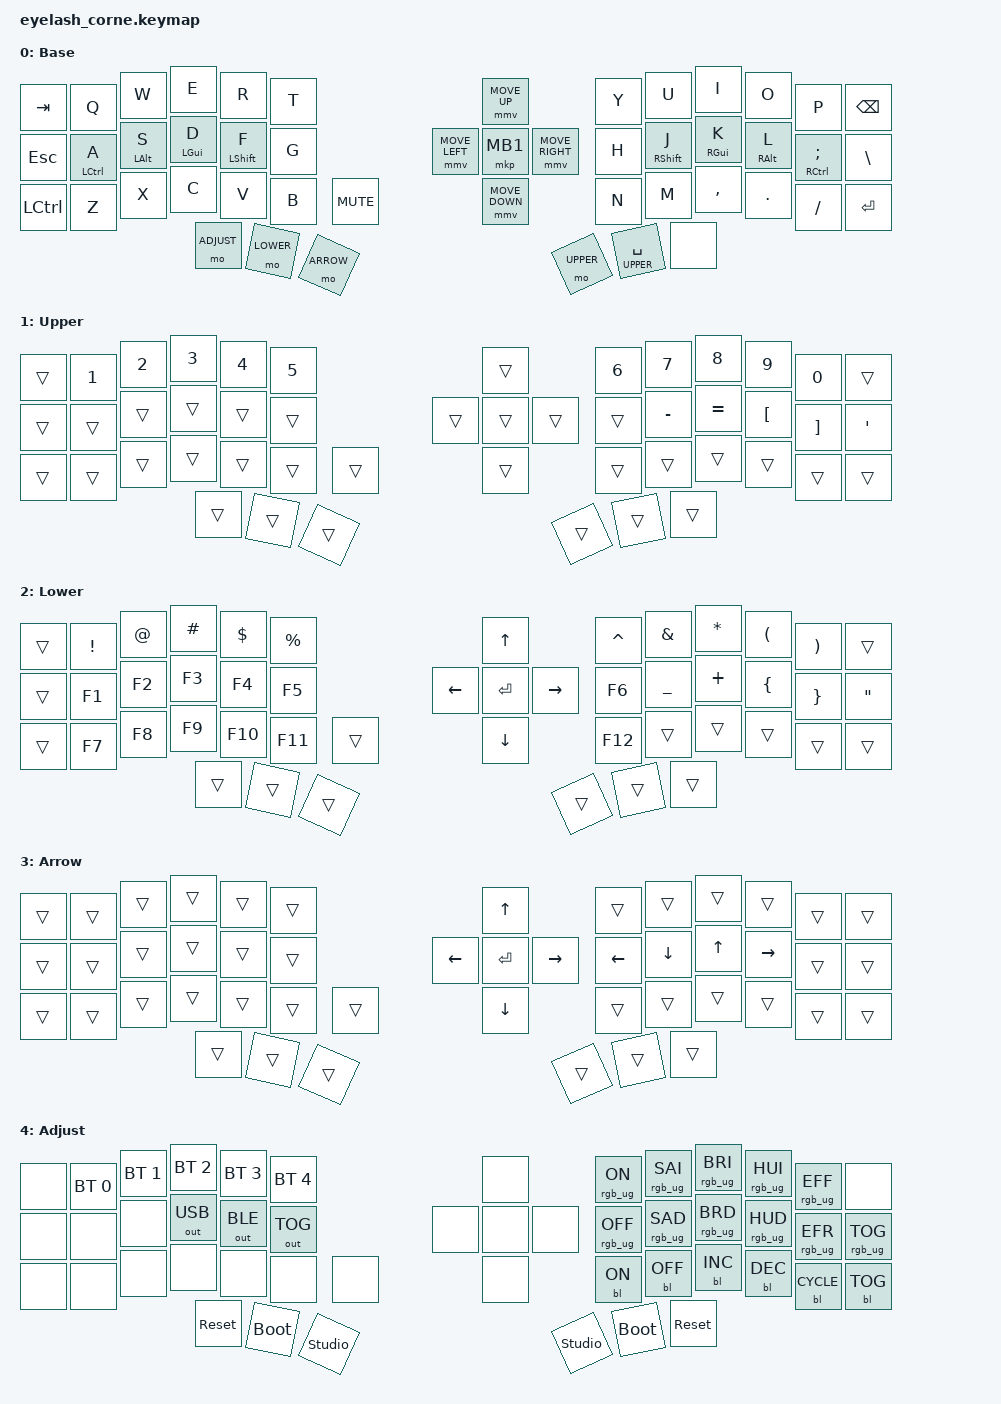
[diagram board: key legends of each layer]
#include <input/processors.dtsi>
#include <zephyr/dt-bindings/input/input-event-codes.h>
#include <behaviors.dtsi>
#include <behaviors/runtime-sensor-rotate.dtsi>
#include <dt-bindings/zmk/bt.h>
#include <dt-bindings/zmk/ext_power.h>
#include <dt-bindings/zmk/keys.h>
#include <dt-bindings/zmk/outputs.h>
#include <dt-bindings/zmk/rgb.h>
#include <dt-bindings/zmk/backlight.h>
#include <dt-bindings/zmk/pointing.h>
#include <dt-bindings/zmk/mouse.h>

#define BASE   0
#define UPPER  1
#define LOWER  2
#define ADJUST 3
#define ARROW  4

&soft_off { hold-time-ms = <2000>; };

//  key positions (for hold-trigger-key-positions):
//  (0) TAB    (1) Q  (2) W  (3) E  (4) R  (5) T                    (6) up               (7) Y  (8) U  (9) I  (10) O  (11) P  (12) BSPC
//  (13) ESC   (14) A (15) S (16) D (17) F (18) G        (19) left  (20) mid  (21) right  (22) H (23) J (24) K (25) L  (26) SEMI (27) BSLH/APOS
//  (28) CTRL  (29) Z (30) X (31) C (32) V (33) B         (34) mute (35) down             (36) N (37) M (38) COMMA (39) DOT (40) SLASH (41) ENTER
//                                  (42) NONE (43) LOWER (44) NONE                        (45) UPPER (46) SPACE (47) NONE

#define LEFT_SIDE_KEYS 0 1 2 3 4 5 13 14 15 16 17 18 28 29 30 31 32 33 34
#define RIGHT_SIDE_KEYS 7 8 9 10 11 12 22 23 24 25 26 27 36 37 38 39 40 41
#define LEFT_MOD_KEYS 14 15 16 17
#define RIGHT_MOD_KEYS 23 24 25 26

/ {
    behaviors {
        hml: hrmod_left {
            compatible = "zmk,behavior-hold-tap";
            #binding-cells = <2>;
            tapping-term-ms = <200>;
            flavor = "balanced";
            quick-tap-ms = <200>;
            require-prior-idle-ms = <100>;
            bindings = <&kp>, <&kp>;
            hold-trigger-key-positions = <RIGHT_SIDE_KEYS LEFT_MOD_KEYS>;
        };

        hmr: hrmod_right {
            compatible = "zmk,behavior-hold-tap";
            #binding-cells = <2>;
            tapping-term-ms = <200>;
            flavor = "balanced";
            quick-tap-ms = <200>;
            require-prior-idle-ms = <100>;
            bindings = <&kp>, <&kp>;
            hold-trigger-key-positions = <LEFT_SIDE_KEYS RIGHT_MOD_KEYS>;
        };

        rsr_vol: rsr_vol {
            compatible = "zmk,behavior-runtime-sensor-rotate";
            #sensor-binding-cells = <0>;
            tap-ms = <5>;
            cw-binding = <&kp C_VOL_UP>;
            ccw-binding = <&kp C_VOL_DN>;
        };

        rsr_trans: rsr_trans {
            compatible = "zmk,behavior-runtime-sensor-rotate";
            #sensor-binding-cells = <0>;
            tap-ms = <0>;
        };
    };

    keymap {
        compatible = "zmk,keymap";

        base_layer { // Layer 0
            display-name = "Base";

            bindings = <
                &kp TAB     &kp Q       &kp W       &kp E       &kp R       &kp T                 &mmv MOVE_UP               &kp Y       &kp U       &kp I       &kp O       &kp P        &kp BSPC
                &kp ESC     &hml LCTRL A &hml LALT S &hml LGUI D &hml LSHFT F &kp G     &mmv MOVE_LEFT  &mkp MB1 &mmv MOVE_RIGHT  &kp H       &hmr RSHFT J &hmr RGUI K &hmr RALT L &hmr RCTRL SEMI &kp BSLH
                &kp LCTRL   &kp Z       &kp X       &kp C       &kp V       &kp B     &kp C_MUTE   &mmv MOVE_DOWN             &kp N       &kp M       &kp COMMA   &kp DOT     &kp SLASH    &kp ENTER
                                                    &mo ADJUST  &mo LOWER   &mo ARROW                                  &mo UPPER   &lt UPPER SPACE   &none
            >;
        };

        upper_layer { // Layer 1 - numbers + -=[] symbols
            display-name = "Upper";

            bindings = <
                &trans    &kp N1   &kp N2   &kp N3   &kp N4   &kp N5                 &trans               &kp N6   &kp N7   &kp N8    &kp N9   &kp N0   &trans
                &trans    &trans   &trans   &trans   &trans   &trans      &trans     &trans    &trans     &trans   &kp MINUS &kp EQUAL &kp LBKT &kp RBKT &kp SQT
                &trans    &trans   &trans   &trans   &trans   &trans      &trans     &trans               &trans   &trans   &trans    &trans   &trans   &trans
                                                     &trans   &trans      &trans                                    &trans   &trans    &trans
            >;
        };

        lower_layer { // Layer 2 - shifted symbols + F-keys (left hand)
            display-name = "Lower";

            bindings = <
                &trans    &kp EXCL &kp AT   &kp HASH &kp DLLR &kp PRCNT              &kp UP               &kp CARET &kp AMPS &kp ASTRK &kp LPAR &kp RPAR &trans
                &trans    &kp F1   &kp F2   &kp F3   &kp F4   &kp F5      &kp LEFT     &kp ENTER    &kp RIGHT     &kp F6    &kp UNDER &kp PLUS &kp LBRC &kp RBRC &kp DQT
                &trans    &kp F7   &kp F8   &kp F9   &kp F10  &kp F11     &trans     &kp DOWN               &kp F12   &trans   &trans    &trans   &trans   &trans
                                                     &trans   &trans      &trans                                    &trans   &trans    &trans
            >;
        };

        arrow_layer { // Layer 4 - vim-style arrows on hjkl
            display-name = "Arrow";

            bindings = <
                &trans    &trans   &trans   &trans   &trans   &trans                 &kp UP               &trans   &trans   &trans   &trans   &trans   &trans
                &trans    &trans   &trans   &trans   &trans   &trans      &kp LEFT   &kp ENTER &kp RIGHT  &kp LEFT &kp DOWN &kp UP   &kp RIGHT &trans  &trans
                &trans    &trans   &trans   &trans   &trans   &trans      &trans     &kp DOWN             &trans   &trans   &trans   &trans   &trans   &trans
                                                     &trans   &trans      &trans                                    &trans   &trans   &trans
            >;
        };

        adjust_layer { // Layer 3 - hardware controls
            display-name = "Adjust";

            bindings = <
                &none       &bt BT_SEL 0 &bt BT_SEL 1  &bt BT_SEL 2 &bt BT_SEL 3 &bt BT_SEL 4                 &none               &rgb_ug RGB_ON  &rgb_ug RGB_SAI &rgb_ug RGB_BRI  &rgb_ug RGB_HUI &rgb_ug RGB_EFF &none
                &none       &none        &none         &out OUT_USB &out OUT_BLE &out OUT_TOG      &none     &none     &none    &rgb_ug RGB_OFF &rgb_ug RGB_SAD &rgb_ug RGB_BRD  &rgb_ug RGB_HUD &rgb_ug RGB_EFR &rgb_ug RGB_TOG
                &none       &none        &none         &none        &none        &none             &none     &none               &bl BL_ON       &bl BL_OFF      &bl BL_INC       &bl BL_DEC      &bl BL_CYCLE    &bl BL_TOG
                                                       &sys_reset   &bootloader   &studio_unlock                                   &studio_unlock  &bootloader     &sys_reset
            >;
        };
    };
};
